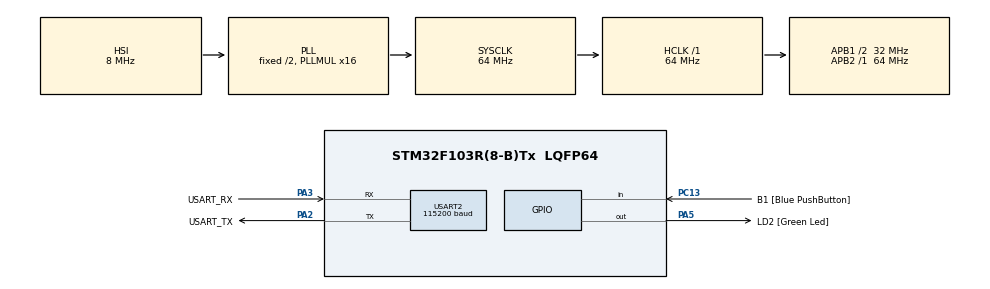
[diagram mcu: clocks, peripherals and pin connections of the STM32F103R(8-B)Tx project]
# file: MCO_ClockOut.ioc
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Mcu.Family=STM32F1
Mcu.Name=STM32F103R(8-B)Tx
Mcu.Package=LQFP64
NVIC.PriorityGroup=NVIC_PRIORITYGROUP_4
PA13.GPIO_Label=TMS
PA13.Mode=Serial_Wire
PA13.Signal=SYS_JTMS-SWDIO
PA14.GPIO_Label=TCK
PA14.Mode=Serial_Wire
PA14.Signal=SYS_JTCK-SWCLK
PA2.GPIO_Label=USART_TX
PA2.GPIO_Mode=GPIO_MODE_AF_PP
PA2.GPIO_PuPd=GPIO_NOPULL
PA2.GPIO_Speed=GPIO_SPEED_FREQ_LOW
PA2.Mode=Asynchronous
PA2.Signal=USART2_TX
PA3.GPIO_Label=USART_RX
PA3.GPIO_PuPd=GPIO_NOPULL
PA3.GPIO_Speed=GPIO_SPEED_FREQ_LOW
PA3.Mode=Asynchronous
PA3.Signal=USART2_RX
PA5.GPIO_Label=LD2 [Green Led]
PA5.GPIO_ModeDefaultOutputPP=GPIO_MODE_OUTPUT_PP
PA5.GPIO_PuPd=GPIO_NOPULL
PA5.GPIO_Speed=GPIO_SPEED_FREQ_LOW
PA5.Signal=GPIO_Output
PB3.GPIO_Label=SWO
PB3.Signal=SYS_JTDO-TRACESWO
PC13-TAMPER-RTC.GPIO_Label=B1 [Blue PushButton]
PC13-TAMPER-RTC.GPIO_PuPd=GPIO_NOPULL
PC13-TAMPER-RTC.Signal=GPIO_Input
PC14-OSC32_IN.Mode=LSE-External-Oscillator
PC14-OSC32_IN.Signal=RCC_OSC32_IN
PC15-OSC32_OUT.Mode=LSE-External-Oscillator
PC15-OSC32_OUT.Signal=RCC_OSC32_OUT
PD0-OSC_IN.Mode=HSE-External-Clock-Source
PD0-OSC_IN.Signal=RCC_OSC_IN
PD1-OSC_OUT.Mode=HSE-External-Clock-Source
PD1-OSC_OUT.Signal=RCC_OSC_OUT
ProjectManager.HeapSize=0x200
ProjectManager.StackSize=0x400
ProjectManager.TargetToolchain=STM32CubeIDE
RCC.AHBFreq_Value=64000000
RCC.APB1CLKDivider=RCC_HCLK_DIV2
RCC.APB1Freq_Value=32000000
RCC.APB1TimFreq_Value=64000000
RCC.APB2Freq_Value=64000000
RCC.APB2TimFreq_Value=64000000
RCC.HCLKFreq_Value=64000000
RCC.PLLMUL=RCC_PLL_MUL16
RCC.RTCClockSelection=RCC_RTCCLKSOURCE_LSE
RCC.SYSCLKFreq_VALUE=64000000
RCC.SYSCLKSource=RCC_SYSCLKSOURCE_PLLCLK
RCC.USBFreq_Value=64000000
USART2.BaudRate=115200
USART2.VirtualMode=VM_ASYNC
board=NUCLEO-F103RB

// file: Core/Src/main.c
/* USER CODE BEGIN Header */
/**
 ******************************************************************************
 * @file           : main.c
 * @brief          : Main program body
 ******************************************************************************
 * @attention
 *
 * Copyright (c) 2026 STMicroelectronics.
 * All rights reserved.
 *
 * This software is licensed under terms that can be found in the LICENSE file
 * in the root directory of this software component.
 * If no LICENSE file comes with this software, it is provided AS-IS.
 *
 ******************************************************************************
 */
/**
 * 09_MCO_ClockOut_c  —  [계층: HAL]  MCO(Microcontroller Clock Output): 내부 클럭을 핀으로 내보내 오실로스코프로 확인
 *
 * 동작
 *   - PA8 ('D7') 에 MCO 출력. B1(PC13)을 누를 때마다 출력 소스가 순환한다:
 *       1) HSI      = 8MHz   (내부 RC 오실레이터)
 *       2) PLL/2    = 32MHz  (PLL 출력 64MHz 의 절반. F1 의 MCO 는 PLL 을 항상 2 분주해서 내보낸다)
 *       3) HSE      = 8MHz   (Nucleo 는 ST-Link 의 MCO 를 HSE 로 바이패스 입력. 해당 납땜 브리지가 없으면 자동으로 건너뜀)
 *   - 현재 소스와 SYSCLK 를 UART(115200)로 출력. 시스템 클럭이 실제로 몇 MHz 인지 스코프로 교차 검증하는 용도.
 *   * SYSCLK(64MHz)를 직접 내보내는 소스도 있지만 MCO 핀의 최대 주파수가 50MHz 라 이 예제에서는 사용하지 않는다.
 *     (04_Clock_Config 는 48MHz 로 SYSCLK 을 내보낸다)
 *
 * 하드웨어 대응 (RM0008 7.3.2 RCC_CFGR)
 *   RCC->CFGR.MCO[26:24] : 000=없음, 100=SYSCLK, 101=HSI, 110=HSE, 111=PLL/2
 *   PA8 을 대체기능 푸시풀 50MHz 로 설정해야 한다 (HAL_RCC_MCOConfig 가 함께 처리: GPIOA->CRH[3:0] = 0xB)
 *   HSE 바이패스: RCC->CR.HSEBYP=1, HSEON=1 -> HSERDY 대기 (외부에서 클럭 신호를 그대로 입력)
 *
 * 응용: 다른 칩/코덱/FPGA 에 기준 클럭을 공급하거나, 크리스털/PLL 설정이 제대로 됐는지 검증.
 *
 * 인터럽트를 사용하지 않는다.
 */
/* USER CODE END Header */
#include "main.h"

/* USER CODE BEGIN Includes */
#include <stdio.h>
#include <string.h>
/* USER CODE END Includes */

/* USER CODE BEGIN PTD */
typedef struct { uint32_t src; const char *name; } mco_src_t;

/* USER CODE END PTD */

UART_HandleTypeDef huart2;

/* USER CODE BEGIN PV */
static mco_src_t list[3];
static int n_src;
/* USER CODE END PV */

void SystemClock_Config(void);
static void MX_GPIO_Init(void);
static void MX_USART2_UART_Init(void);

int main(void)
{

  /* MCU Configuration--------------------------------------------------------*/

  /* Reset of all peripherals, Initializes the Flash interface and the Systick. */
  HAL_Init();

  /* Configure the system clock */
  SystemClock_Config();

  /* Initialize all configured peripherals */
  MX_GPIO_Init();
  MX_USART2_UART_Init();
  /* USER CODE BEGIN 2 */
  list[n_src++] = (mco_src_t){ RCC_MCO1SOURCE_HSI, "HSI (8 MHz)" };
  list[n_src++] = (mco_src_t){ RCC_MCO1SOURCE_PLLCLK, "PLL/2 (32 MHz)" };

  /* HSE 바이패스(ST-Link MCO 입력) 시도. 실패해도 나머지 소스는 계속 사용 가능 */
  RCC_OscInitTypeDef o = {0};
  o.OscillatorType = RCC_OSCILLATORTYPE_HSE;
  o.HSEState = RCC_HSE_BYPASS;
  o.PLL.PLLState = RCC_PLL_NONE;                    /* PLL 설정은 건드리지 않는다 */
  if (HAL_RCC_OscConfig(&o) == HAL_OK) list[n_src++] = (mco_src_t){ RCC_MCO1SOURCE_HSE, "HSE bypass (8 MHz)" };

  int idx = 0;
  char msg[96];
  /* USER CODE END 2 */

  /* Infinite loop */
  while (1)
  {

    /* USER CODE BEGIN 3 */
    HAL_RCC_MCOConfig(RCC_MCO, list[idx].src, RCC_MCODIV_1);   /* PA8 설정 + CFGR.MCO 선택 */
    int n = snprintf(msg, sizeof msg, "MCO(PA8) = %s   [SYSCLK=%lu Hz, HCLK=%lu Hz]\r\n", list[idx].name,
            (unsigned long)HAL_RCC_GetSysClockFreq(), (unsigned long)HAL_RCC_GetHCLKFreq());
    HAL_UART_Transmit(&huart2, (uint8_t *)msg, (uint16_t)n, 100);

    while (HAL_GPIO_ReadPin(B1_GPIO_Port, B1_Pin) == GPIO_PIN_SET) {}   /* B1 눌림 대기 */
    HAL_Delay(30);
    while (HAL_GPIO_ReadPin(B1_GPIO_Port, B1_Pin) == GPIO_PIN_RESET) {}
    HAL_Delay(30);
    idx = (idx + 1) % n_src;
  }
  /* USER CODE END 3 */
}

void SystemClock_Config(void)
{
  RCC_OscInitTypeDef RCC_OscInitStruct = {0};
  RCC_ClkInitTypeDef RCC_ClkInitStruct = {0};

  /** Initializes the RCC Oscillators according to the specified parameters
  * in the RCC_OscInitTypeDef structure.
  */
  RCC_OscInitStruct.OscillatorType = RCC_OSCILLATORTYPE_HSI;
  RCC_OscInitStruct.HSIState = RCC_HSI_ON;
  RCC_OscInitStruct.HSICalibrationValue = RCC_HSICALIBRATION_DEFAULT;
  RCC_OscInitStruct.PLL.PLLState = RCC_PLL_ON;
  RCC_OscInitStruct.PLL.PLLSource = RCC_PLLSOURCE_HSI_DIV2;
  RCC_OscInitStruct.PLL.PLLMUL = RCC_PLL_MUL16;
  if (HAL_RCC_OscConfig(&RCC_OscInitStruct) != HAL_OK)
  {
    Error_Handler();
  }

  /** Initializes the CPU, AHB and APB buses clocks
  */
  RCC_ClkInitStruct.ClockType = RCC_CLOCKTYPE_HCLK|RCC_CLOCKTYPE_SYSCLK
                              |RCC_CLOCKTYPE_PCLK1|RCC_CLOCKTYPE_PCLK2;
  RCC_ClkInitStruct.SYSCLKSource = RCC_SYSCLKSOURCE_PLLCLK;
  RCC_ClkInitStruct.AHBCLKDivider = RCC_SYSCLK_DIV1;
  RCC_ClkInitStruct.APB1CLKDivider = RCC_HCLK_DIV2;
  RCC_ClkInitStruct.APB2CLKDivider = RCC_HCLK_DIV1;

  if (HAL_RCC_ClockConfig(&RCC_ClkInitStruct, FLASH_LATENCY_2) != HAL_OK)
  {
    Error_Handler();
  }
}

static void MX_GPIO_Init(void)
{
  GPIO_InitTypeDef GPIO_InitStruct = {0};

  /* GPIO Ports Clock Enable */
  __HAL_RCC_GPIOC_CLK_ENABLE();
  __HAL_RCC_GPIOD_CLK_ENABLE();
  __HAL_RCC_GPIOA_CLK_ENABLE();
  __HAL_RCC_GPIOB_CLK_ENABLE();

  /*Configure GPIO pin Output Level */
  HAL_GPIO_WritePin(LD2_GPIO_Port, LD2_Pin, GPIO_PIN_RESET);

  /*Configure GPIO pin : B1_Pin */
  GPIO_InitStruct.Pin = B1_Pin;
  GPIO_InitStruct.Mode = GPIO_MODE_INPUT;
  GPIO_InitStruct.Pull = GPIO_NOPULL;
  HAL_GPIO_Init(B1_GPIO_Port, &GPIO_InitStruct);

  /*Configure GPIO pin : LD2_Pin */
  GPIO_InitStruct.Pin = LD2_Pin;
  GPIO_InitStruct.Mode = GPIO_MODE_OUTPUT_PP;
  GPIO_InitStruct.Pull = GPIO_NOPULL;
  GPIO_InitStruct.Speed = GPIO_SPEED_FREQ_LOW;
  HAL_GPIO_Init(LD2_GPIO_Port, &GPIO_InitStruct);

}

static void MX_USART2_UART_Init(void)
{

  huart2.Instance = USART2;
  huart2.Init.BaudRate = 115200;
  huart2.Init.WordLength = UART_WORDLENGTH_8B;
  huart2.Init.StopBits = UART_STOPBITS_1;
  huart2.Init.Parity = UART_PARITY_NONE;
  huart2.Init.Mode = UART_MODE_TX_RX;
  huart2.Init.HwFlowCtl = UART_HWCONTROL_NONE;
  huart2.Init.OverSampling = UART_OVERSAMPLING_16;
  if (HAL_UART_Init(&huart2) != HAL_OK)
  {
    Error_Handler();
  }

}

void Error_Handler(void)
{
  __disable_irq();
  while (1) {
  }
}
#ifdef USE_FULL_ASSERT
/**
  * @brief  Reports the name of the source file and the source line number
  *         where the assert_param error has occurred.
  * @param  file: pointer to the source file name
  * @param  line: assert_param error line source number
  * @retval None
  */
void assert_failed(uint8_t *file, uint32_t line)
{
  /* USER CODE BEGIN 6 */
  /* User can add his own implementation to report the file name and line
     number, ex: printf("Wrong parameters value: file %s on line %d\r\n", file,
     line) */
  /* USER CODE END 6 */
}
#endif /* USE_FULL_ASSERT */
